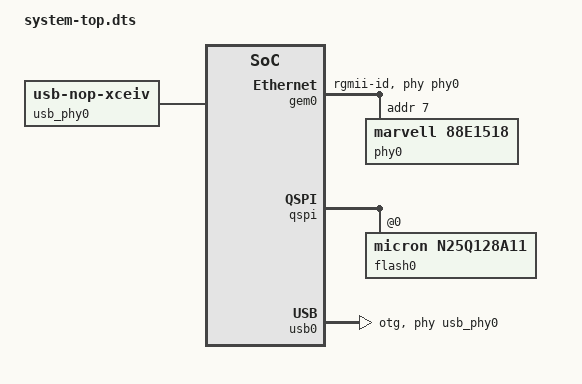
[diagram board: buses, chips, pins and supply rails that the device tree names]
/dts-v1/;
/include/ "system-conf.dtsi"
/ {
};

&gem0 {
	phy-handle = <&phy0>;
	phy-mode = "rgmii-id";
	
	ps7_ethernet_0_mdio: mdio {
	    status = "disabled";
	    };
	    
	phy0: phy@7 {
		compatible = "marvell,88e1518";
		device_type = "ethernet-phy";
		reg = <0x7>;
		marvell,reg-init = <3 16 0xff00 0x1e 3 17 0xfff0 0x00>;
	};
};

&qspi {
	flash0: flash@0 {
		compatible = "micron,n25q128a11";
	};
};

/{
    usb_phy0:usb_phy@0 {
        compatible="usb-nop-xceiv";
        #phy-cells = <0>;
    };
};


&usb0 {
	dr_mode = "otg";
	usb-phy = <&usb_phy0>;
} ;


